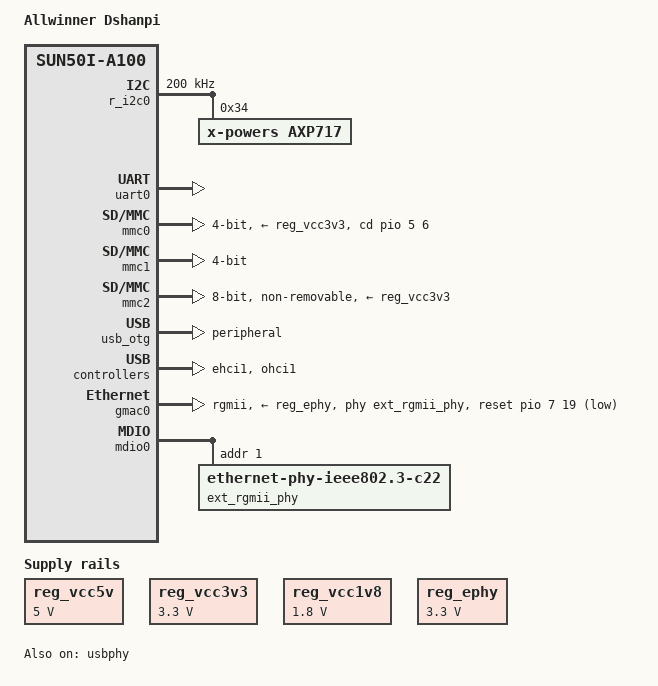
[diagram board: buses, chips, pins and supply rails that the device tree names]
// SPDX-License-Identifier: (GPL-2.0+ OR MIT)
/*
 * Copyright (c) 2020 Yangtao Li <frank@allwinnertech.com>
 */

/dts-v1/;

#include <dt-bindings/gpio/gpio.h>

#include "sun50i-a100.dtsi"
#include "sun50i-a100-opp-table.dtsi"

/{
	model = "Allwinner Dshanpi";
	compatible = "allwinner,a100-perf1", "allwinner,sun50i-a100";

	aliases {
		serial0 = &uart0;
	};

	chosen {
		bootargs = "console=ttyS0,115200n8 earlycon";
		linux,stdout-path = &uart0;
	};

	reserved-memory {
		#address-cells = <2>;
		#size-cells = <2>;
		ranges;

		secmon@0x48000000 {
			reg = <0x0 0x48000000 0x0 0x200000>;
			no-map;
		};
	};

	reg_vcc5v: regulator-5v {
		compatible = "regulator-fixed";
		regulator-name = "vcc-5v";
		regulator-min-microvolt = <5000000>;
		regulator-max-microvolt = <5000000>;
		regulator-always-on;
	};

	reg_vcc3v3: regulator-3v3 {
		compatible = "regulator-fixed";
		regulator-name = "vcc-3v3";
		regulator-min-microvolt = <3300000>;
		regulator-max-microvolt = <3300000>;
		regulator-always-on;
	};

	reg_vcc1v8: regulator-1v8 {
		compatible = "regulator-fixed";
		regulator-name = "vcc-1v8";
		regulator-min-microvolt = <1800000>;
		regulator-max-microvolt = <1800000>;
		regulator-always-on;
	};
	reg_ephy:regulator-emac {
		compatible = "regulator-fixed";
		regulator-name = "vcc-ephy";
		regulator-min-microvolt = <3300000>;
		regulator-max-microvolt = <3300000>;
		regulator-always-on;
	};
};

&pio {
	vcc-pb-supply = <&reg_cldo3>;
	vcc-pc-supply = <&reg_eldo1>;
	vcc-pd-supply = <&reg_dcdc1>;
	vcc-pe-supply = <&reg_dldo2>;
	vcc-pf-supply = <&reg_cldo3>;
	vcc-pg-supply = <&reg_dldo1>;
	vcc-ph-supply = <&reg_cldo3>;
};

&r_pio {
	/*
	 * FIXME: We can't add that supply for now since it would
	 * create a circular dependency between pinctrl, the regulator
	 * and the RSB Bus.
	 *
	 * vcc-pl-supply = <&reg_aldo3>;
	 */
};

&r_i2c0 {
	status = "okay";
	clock-frequency = <200000>;
	axp717: pmic@34 {
		compatible = "x-powers,axp717";
		reg = <0x34>;
		interrupt-parent = <&r_intc>;
		interrupts = <0 IRQ_TYPE_LEVEL_LOW>;
		x-powers,drive-vbus-en; /* set N_VBUSEN as output pin */
	};
};

#include "power_supply.dtsi"

&pio {
	vcc-pb-supply = <&reg_cldo3>;
	vcc-pc-supply = <&reg_cldo1>;
	vcc-pd-supply = <&reg_cldo3>;
	vcc-pe-supply = <&reg_aldo2>;
	vcc-pf-supply = <&reg_cldo3>;
	vcc-pg-supply = <&reg_bldo1>;
	// vcc-ph-supply = <&reg_cldo3>;
};

&uart0 {
	pinctrl-names = "default";
	pinctrl-0 = <&uart0_pb_pins>;
	uart-supply = <&reg_cldo3>;
	status = "okay";
};

&mmc0 {
	cd-gpios = <&pio 5 6 GPIO_ACTIVE_HIGH>;	/* PF6 */
	bus-width = <4>;
	cd-used-24M;
	cap-sd-highspeed;
	sd-uhs-sdr50;
	sd-uhs-ddr50;
	sd-uhs-sdr104;
	no-sdio;
	no-mmc;
	vmmc-supply = <&reg_vcc3v3>;
	vqmmc-supply = <&reg_vcc1v8>;
	// vqmmc2-supply = <&reg_vcc1v8>;
	max-frequency = <150000000>;
	status = "okay";
};

&mmc1 {
	bus-width = <4>;
	no-mmc;
	no-sd;
	cap-sd-highspeed;
	cap-sdio-irq;
	keep-power-in-suspend;
	ignore-pm-notify;
	max-frequency = <50000000>;
	ctl-spec-caps = <0x8>;
	// vmmc-supply = <&reg_dcdc1>;
	status = "okay";
};

&mmc2 {
	non-removable;
	bus-width = <8>;
	mmc-ddr-1_8v;
	mmc-hs200-1_8v;
	mmc-hs400-1_8v;
	no-sdio;
	no-sd;
	ctl-spec-caps = <0x308>;
	cap-mmc-highspeed;
	max-frequency = <100000000>;
	vmmc-supply = <&reg_vcc3v3>;
	vqmmc-supply = <&reg_vcc1v8>;
	/*emmc io vol 3.3v*/
	/*vqmmc-supply = <&reg_aldo1>;*/
	/*emmc io vol 1.8v*/
	// vqmmc-supply = <&reg_eldo1>;
	status = "okay";
};

&usb_otg {
	dr_mode = "peripheral";
	status = "okay";
};

&usbphy {
	usb1_vbus-supply = <&reg_vcc5v>;
	status = "okay";
};

&ehci1 {
	status = "okay";
};

&ohci1 {
	status = "okay";
};

&gmac0 {
	phy-handle = <&ext_rgmii_phy>;
	phy-mode = "rgmii";
	phy-supply = <&reg_ephy>;
	allwinner,rx-delay-ps = <3000>;
	allwinner,tx-delay-ps = <600>;
	snps,reset-gpio = <&pio 7 19 GPIO_ACTIVE_LOW>;
	snps,reset-delays-us = <100>;
	status = "okay";
};

&mdio0 {
	ext_rgmii_phy: ethernet-phy@1 {
		compatible = "ethernet-phy-ieee802.3-c22";
		reg = <1>;
		status = "okay";
	};
};
